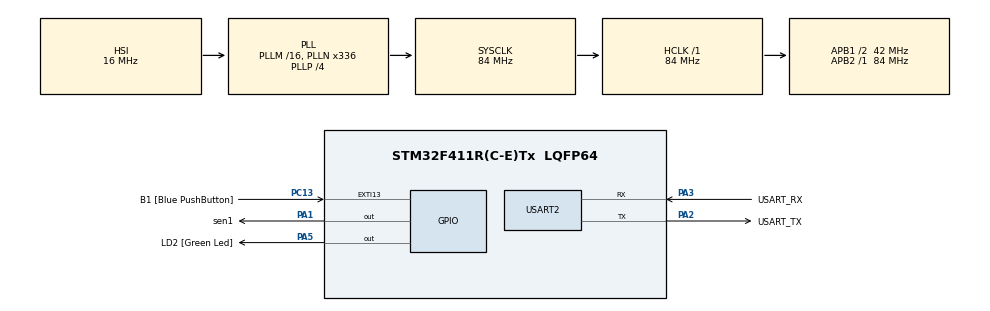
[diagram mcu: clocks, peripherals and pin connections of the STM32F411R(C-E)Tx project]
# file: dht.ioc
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Mcu.Family=STM32F4
Mcu.Name=STM32F411R(C-E)Tx
Mcu.Package=LQFP64
NVIC.PriorityGroup=NVIC_PRIORITYGROUP_0
NVIC.TIM3_IRQn=true\:0\:0\:false\:false\:true\:true\:true
PA1.GPIO_Label=sen1
PA1.Signal=GPIO_Output
PA13.GPIO_Label=TMS
PA13.Mode=Serial_Wire
PA13.Signal=SYS_JTMS-SWDIO
PA14.GPIO_Label=TCK
PA14.Mode=Serial_Wire
PA14.Signal=SYS_JTCK-SWCLK
PA2.GPIO_Label=USART_TX
PA2.Mode=Asynchronous
PA2.Signal=USART2_TX
PA3.GPIO_Label=USART_RX
PA3.Mode=Asynchronous
PA3.Signal=USART2_RX
PA5.GPIO_Label=LD2 [Green Led]
PA5.Signal=GPIO_Output
PB3.GPIO_Label=SWO
PB3.Signal=SYS_JTDO-SWO
PC13-ANTI_TAMP.GPIO_Label=B1 [Blue PushButton]
PC13-ANTI_TAMP.GPIO_ModeDefaultEXTI=GPIO_MODE_IT_FALLING
PC13-ANTI_TAMP.Signal=GPXTI13
PC14-OSC32_IN.Mode=LSE-External-Oscillator
PC14-OSC32_IN.Signal=RCC_OSC32_IN
PC15-OSC32_OUT.Mode=LSE-External-Oscillator
PC15-OSC32_OUT.Signal=RCC_OSC32_OUT
PH0\ -\ OSC_IN.Mode=HSE-External-Clock-Source
PH0\ -\ OSC_IN.Signal=RCC_OSC_IN
PH1\ -\ OSC_OUT.Mode=HSE-External-Clock-Source
PH1\ -\ OSC_OUT.Signal=RCC_OSC_OUT
ProjectManager.HeapSize=0x200
ProjectManager.StackSize=0x400
ProjectManager.TargetToolchain=STM32CubeIDE
RCC.48MHZClocksFreq_Value=84000000
RCC.AHBFreq_Value=84000000
RCC.APB1CLKDivider=RCC_HCLK_DIV2
RCC.APB1Freq_Value=42000000
RCC.APB1TimFreq_Value=84000000
RCC.APB2Freq_Value=84000000
RCC.APB2TimFreq_Value=84000000
RCC.CortexFreq_Value=84000000
RCC.FLatency-AdvancedSettings=FLASH_LATENCY_2
RCC.HCLKFreq_Value=84000000
RCC.HSE_VALUE=8000000
RCC.HSI_VALUE=16000000
RCC.PLLN=336
RCC.PLLP=RCC_PLLP_DIV4
RCC.SYSCLKFreq_VALUE=84000000
RCC.SYSCLKSource=RCC_SYSCLKSOURCE_PLLCLK
RCC.VCOOutputFreq_Value=336000000
TIM3.Period=41999  
TIM3.Prescaler=1 
USART2.VirtualMode=VM_ASYNC
VP_TIM3_VS_ClockSourceINT.Mode=Internal
board=NUCLEO-F411RE

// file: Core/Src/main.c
/* USER CODE BEGIN Header */
/**
  ******************************************************************************
  * @file           : main.c
  * @brief          : Main program body
  ******************************************************************************
  * @attention
  *
  * <h2><center>&copy; Copyright (c) 2021 STMicroelectronics.
  * All rights reserved.</center></h2>
  *
  * This software component is licensed by ST under BSD 3-Clause license,
  * the "License"; You may not use this file except in compliance with the
  * License. You may obtain a copy of the License at:
  *                        opensource.org/licenses/BSD-3-Clause
  *
  ******************************************************************************
  */
/* USER CODE END Header */
#include "main.h"
#include "DHT.h"
#include <stdio.h>

/* USER CODE BEGIN PTD */
typedef struct sTask{

void (*pTask)(void); 	// Pointer to the task (must be a 'void (void)' function)

uint32_t Delay, Period/*,Sum_Period*/ ; // Delay (ticks) until the function will (next) be run
						// And Interval (ticks) between subsequent runs

uint8_t  RunMe /*,PFlag*/;			 // Incremented (by scheduler) when task is due to execute
}sTask;
/* USER CODE END PTD */

/* USER CODE BEGIN PD */
#define SCH_MAX_TASKS 7
#define ERROR_SCH_TOO_MANY_TASKS 2
#define ERROR_SCH_CANNOT_DELETE_TASK 3
#define RETURN_ERROR 1
#define RETURN_NORMAL 0
/* USER CODE END PD */

TIM_HandleTypeDef htim3;

UART_HandleTypeDef huart2;

void SystemClock_Config(void);
static void MX_GPIO_Init(void);
static void MX_USART2_UART_Init(void);
static void MX_TIM3_Init(void);
/* USER CODE BEGIN PFP */
sTask SCH_tasks_G[SCH_MAX_TASKS];
uint32_t Return_code;
uint8_t Error_code_G = 0;
int systime;
unsigned char counter[60]={ '\0' };
int fan1, fan2, fan3, heater, pump;

DHT_DataTypedef DHT11_Data;
	float Temperature, Humidity;
	char pData[60]={ '\0' };

void Task1(){
DHT_GetData(&DHT11_Data);
	  	  Temperature = DHT11_Data.Temperature;
		  Humidity = DHT11_Data.Humidity;
}
void Task2(){

sprintf(pData,"\r temp:%.2f, humid:%.2f, fan1:%d, fan2:%d, heater:%d ", Temperature, Humidity,fan1,fan2,heater);
HAL_UART_Transmit(&huart2, (uint8_t*) pData, sizeof(pData), 500);
}

void Task4(){
if(Temperature<31){heater=1;
fan2=1;}
else{heater=0;fan2=0;}

if(Humidity>90){fan1=3;}
else if(Humidity>80&&Humidity<=90){fan1=2;}
else if(Humidity>65&&Humidity<=80){fan1=1;}
else fan1=0;

}
void Task5(){
sprintf(counter,"\r \n **Task 5 : %02lu  ",HAL_GetTick());
HAL_UART_Transmit(&huart2,counter,sizeof(counter),100);
}

//////////////////

uint32_t SCH_Add_Task();
void SCH_Delete_Task();
void SCH_Dispatch_Tasks();
/* USER CODE END PFP */

/* USER CODE BEGIN 0 */
// The array of tasks

/* USER CODE END 0 */

int main(void)
{

  /* MCU Configuration--------------------------------------------------------*/

  /* Reset of all peripherals, Initializes the Flash interface and the Systick. */
  HAL_Init();

  /* Configure the system clock */
  SystemClock_Config();

  /* Initialize all configured peripherals */
  MX_GPIO_Init();
  MX_USART2_UART_Init();
  MX_TIM3_Init();
  /* USER CODE BEGIN 2 */
  HAL_TIM_Base_Start_IT(&htim3);
  /* USER CODE END 2 */
  sprintf(pData,"\r \n hi  ");
    HAL_UART_Transmit(&huart2, (uint8_t*) pData, sizeof(pData), 500);
      /* USER CODE END WHILE */
  /* Infinite loop */
  /* USER CODE BEGIN WHILE */
    SCH_Add_Task(*Task1, 00, 1000);
    SCH_Add_Task(*Task2, 100, 200);
    SCH_Add_Task(*Task4, 50, 200);
  while (1)
  {
    /* USER CODE END WHILE */

	//	  HAL_Delay(1000);

		  SCH_Dispatch_Tasks();
  }
}

void SystemClock_Config(void)
{
  RCC_OscInitTypeDef RCC_OscInitStruct = {0};
  RCC_ClkInitTypeDef RCC_ClkInitStruct = {0};

  /** Configure the main internal regulator output voltage
  */
  __HAL_RCC_PWR_CLK_ENABLE();
  __HAL_PWR_VOLTAGESCALING_CONFIG(PWR_REGULATOR_VOLTAGE_SCALE1);
  /** Initializes the RCC Oscillators according to the specified parameters
  * in the RCC_OscInitTypeDef structure.
  */
  RCC_OscInitStruct.OscillatorType = RCC_OSCILLATORTYPE_HSI;
  RCC_OscInitStruct.HSIState = RCC_HSI_ON;
  RCC_OscInitStruct.HSICalibrationValue = RCC_HSICALIBRATION_DEFAULT;
  RCC_OscInitStruct.PLL.PLLState = RCC_PLL_ON;
  RCC_OscInitStruct.PLL.PLLSource = RCC_PLLSOURCE_HSI;
  RCC_OscInitStruct.PLL.PLLM = 16;
  RCC_OscInitStruct.PLL.PLLN = 336;
  RCC_OscInitStruct.PLL.PLLP = RCC_PLLP_DIV4;
  RCC_OscInitStruct.PLL.PLLQ = 4;
  if (HAL_RCC_OscConfig(&RCC_OscInitStruct) != HAL_OK)
  {
    Error_Handler();
  }
  /** Initializes the CPU, AHB and APB buses clocks
  */
  RCC_ClkInitStruct.ClockType = RCC_CLOCKTYPE_HCLK|RCC_CLOCKTYPE_SYSCLK
                              |RCC_CLOCKTYPE_PCLK1|RCC_CLOCKTYPE_PCLK2;
  RCC_ClkInitStruct.SYSCLKSource = RCC_SYSCLKSOURCE_PLLCLK;
  RCC_ClkInitStruct.AHBCLKDivider = RCC_SYSCLK_DIV1;
  RCC_ClkInitStruct.APB1CLKDivider = RCC_HCLK_DIV2;
  RCC_ClkInitStruct.APB2CLKDivider = RCC_HCLK_DIV1;

  if (HAL_RCC_ClockConfig(&RCC_ClkInitStruct, FLASH_LATENCY_2) != HAL_OK)
  {
    Error_Handler();
  }
}

static void MX_TIM3_Init(void)
{

  TIM_ClockConfigTypeDef sClockSourceConfig = {0};
  TIM_MasterConfigTypeDef sMasterConfig = {0};

  htim3.Instance = TIM3;
  htim3.Init.Prescaler = 1 ;
  htim3.Init.CounterMode = TIM_COUNTERMODE_UP;
  htim3.Init.Period = 41999 ;
  htim3.Init.ClockDivision = TIM_CLOCKDIVISION_DIV1;
  htim3.Init.AutoReloadPreload = TIM_AUTORELOAD_PRELOAD_DISABLE;
  if (HAL_TIM_Base_Init(&htim3) != HAL_OK)
  {
    Error_Handler();
  }
  sClockSourceConfig.ClockSource = TIM_CLOCKSOURCE_INTERNAL;
  if (HAL_TIM_ConfigClockSource(&htim3, &sClockSourceConfig) != HAL_OK)
  {
    Error_Handler();
  }
  sMasterConfig.MasterOutputTrigger = TIM_TRGO_RESET;
  sMasterConfig.MasterSlaveMode = TIM_MASTERSLAVEMODE_DISABLE;
  if (HAL_TIMEx_MasterConfigSynchronization(&htim3, &sMasterConfig) != HAL_OK)
  {
    Error_Handler();
  }

}

static void MX_USART2_UART_Init(void)
{

  huart2.Instance = USART2;
  huart2.Init.BaudRate = 115200;
  huart2.Init.WordLength = UART_WORDLENGTH_8B;
  huart2.Init.StopBits = UART_STOPBITS_1;
  huart2.Init.Parity = UART_PARITY_NONE;
  huart2.Init.Mode = UART_MODE_TX_RX;
  huart2.Init.HwFlowCtl = UART_HWCONTROL_NONE;
  huart2.Init.OverSampling = UART_OVERSAMPLING_16;
  if (HAL_UART_Init(&huart2) != HAL_OK)
  {
    Error_Handler();
  }

}

static void MX_GPIO_Init(void)
{
  GPIO_InitTypeDef GPIO_InitStruct = {0};

  /* GPIO Ports Clock Enable */
  __HAL_RCC_GPIOC_CLK_ENABLE();
  __HAL_RCC_GPIOH_CLK_ENABLE();
  __HAL_RCC_GPIOA_CLK_ENABLE();
  __HAL_RCC_GPIOB_CLK_ENABLE();

  /*Configure GPIO pin Output Level */
  HAL_GPIO_WritePin(GPIOA, sen1_Pin|LD2_Pin, GPIO_PIN_RESET);

  /*Configure GPIO pin : B1_Pin */
  GPIO_InitStruct.Pin = B1_Pin;
  GPIO_InitStruct.Mode = GPIO_MODE_IT_FALLING;
  GPIO_InitStruct.Pull = GPIO_NOPULL;
  HAL_GPIO_Init(B1_GPIO_Port, &GPIO_InitStruct);

  /*Configure GPIO pins : sen1_Pin LD2_Pin */
  GPIO_InitStruct.Pin = sen1_Pin|LD2_Pin;
  GPIO_InitStruct.Mode = GPIO_MODE_OUTPUT_PP;
  GPIO_InitStruct.Pull = GPIO_NOPULL;
  GPIO_InitStruct.Speed = GPIO_SPEED_FREQ_LOW;
  HAL_GPIO_Init(GPIOA, &GPIO_InitStruct);

}

/* USER CODE BEGIN 4 */

uint32_t SCH_Add_Task(void(*pFunction)(), const uint32_t DELAY, const uint32_t PERIOD)
{
uint32_t Index = 0;
// First find a gap in the array (if there is one)
while ((SCH_tasks_G[Index].pTask != 0) && (Index < SCH_MAX_TASKS)) {
Index++;
}
if (Index == SCH_MAX_TASKS) {// Have we reached the end of the list?
// Task list is full, Set the global error variable
Error_code_G = ERROR_SCH_TOO_MANY_TASKS;
return SCH_MAX_TASKS; // Also return an error code
}
// If we're here, there is a space in the task array
SCH_tasks_G[Index].pTask = pFunction;
SCH_tasks_G[Index].Delay = DELAY;
SCH_tasks_G[Index].Period = PERIOD;
SCH_tasks_G[Index].RunMe = 0;
return Index; // return position of task (to allow later deletion)
}

/////////////////////////////////////////////
void SCH_Update(void) {
uint32_t Index;
// NOTE: calculations are in *TICKS* (not milliseconds)
for (Index = 0; Index < SCH_MAX_TASKS; Index++) {
	// Check if there is a task at this location
	if (SCH_tasks_G[Index].pTask) {
		if (SCH_tasks_G[Index].Delay == 0) {
			// The task is due to run
			SCH_tasks_G[Index].RunMe += 1; // Inc. the 'RunMe' flag
	//		SCH_Update_Period(Index);

			if (SCH_tasks_G[Index].Period) {
				// Schedule periodic tasks to run again
				SCH_tasks_G[Index].Delay = SCH_tasks_G[Index].Period;
				}
		}
		else {
			// Not yet ready to run: just decrement the delay
			SCH_tasks_G[Index].Delay -= 1;

		}
	}
}
}

/*------------------------------------------------------------------*/
void SCH_Dispatch_Tasks(void)
   {
	uint32_t Index;

   // Dispatches (runs) the next task (if one is ready)
   for (Index = 0; Index < SCH_MAX_TASKS; Index++)
      {
      if (SCH_tasks_G[Index].RunMe > 0)
         {
            (*SCH_tasks_G[Index].pTask)();  // Run the task

         //   SCH_tasks_G[Index].Sum_Period += SCH_tasks_G[Index].Period;

            SCH_tasks_G[Index].RunMe -= 1;   // Reset / reduce RunMe flag
           // tasks will automatically run again
            // - if this is a 'one shot' task, remove it from the array
             if (SCH_tasks_G[Index].Period <= 0/*||SCH_tasks_G[Index].Sum_Period>=MAX_TIME*/)
                              {
                                  SCH_Delete_Task(Index);
                              }
         }

      }
  // SCH_Report_Status(); // Report system status
  // SCH_Go_To_Sleep();
   }

   ////////////////////////////////////////////////////////////////////////////

///////////////////////////////////////////////////////////////////////

/*------------------------------------------------------------------*/
void SCH_Delete_Task(const uint32_t Index)
   {

	if (!SCH_tasks_G[Index].pTask)
	{
	Error_code_G = ERROR_SCH_CANNOT_DELETE_TASK; 	// Set the global error variable
	Return_code = 1;
	}
	else
	{ Return_code = 0;  }
	SCH_tasks_G[Index].pTask = 0;
	SCH_tasks_G[Index].Delay = 0;
	SCH_tasks_G[Index].Period = 0;
	SCH_tasks_G[Index].RunMe = 0;

	}
/////////////////////////////
/*
 * void SCH_Update_Period(const uint32_t Index) {

		if (SCH_tasks_G[Index].PFlag==1) {
			// low delay, ++ period:
			SCH_tasks_G[Index].Period = SCH_tasks_G[Index].Period+SCH_tasks_G[Index].Delay;
		}
		if (SCH_tasks_G[Index].PFlag==2) {
					// high delay, -- period:
					SCH_tasks_G[Index].Period = SCH_tasks_G[Index].Period-SCH_tasks_G[Index].Delay;
				}

		}

*/

//////////////////////////////////////////////////////////////////////////////

void SCH_Report_Status(void) {
#ifdef SCH_REPORT_ERRORS // ONLY APPLIES IF WE ARE REPORTING ERRORS
// Check for a new error code
if (Error_code_G != Last_error_code_G) {
// Negative logic on LEDs assumed
Error_port = 255 - Error_code_G;
Last_error_code_G = Error_code_G;
if (Error_code_G != 0) {
Error_tick_count_G = 60000;
} else {
Error_tick_count_G = 0;
}
} else {
if (Error_tick_count_G != 0) {
if (--Error_tick_count_G == 0) {
Error_code_G = 0; // Reset error code
}
}
}
#endif
}
//INTERRUPT
void HAL_TIM_PeriodElapsedCallback(TIM_HandleTypeDef *htim) {

	if (htim == (&htim3)) {
 //systime++;
	SCH_Update();
	}
//if(systime==100) {Task5();
//systime=0;}

}

/* USER CODE END 4 */

void Error_Handler(void)
{
  __disable_irq();
  while (1)
  {
  }
}

/************************ (C) COPYRIGHT STMicroelectronics *****END OF FILE****/
